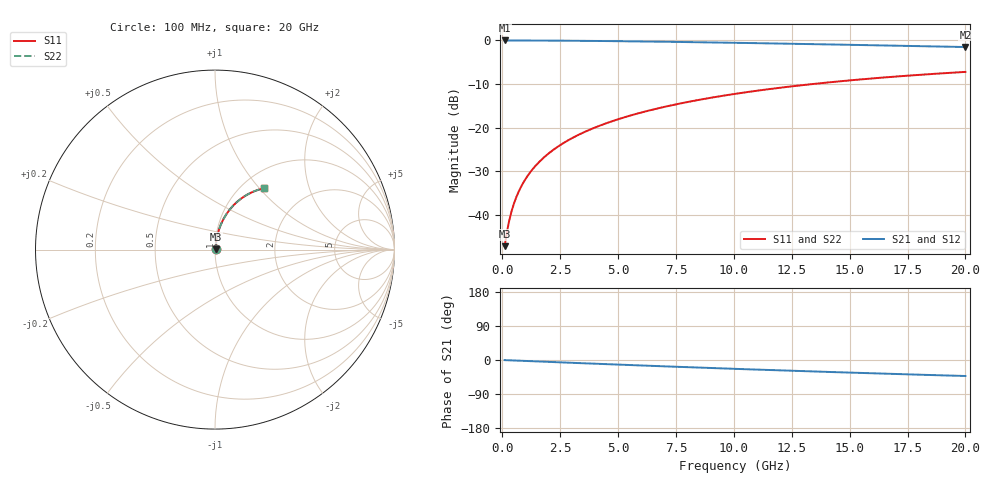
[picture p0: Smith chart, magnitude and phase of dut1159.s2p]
! Touchstone file exported from HFSS 2024.1.0
!  File:  C:/UserFiles/LocalFiles/RDL_TSV_Batchsim/temp_RDL_top_1159_1780048458.aedt
!  Generated:  05:56:28 PM May 29, 2026
!  Design:  RDL_top
!  Project:  temp_RDL_top_1159_1780048458
!  Setup:  Setup1
!  Solution:  Sweep
! Variables:
!  dtsv = 10.80580581um
!  hbump = 3um
!  htsv = 80.6um
!  ldown = 100um
!  lrdl = 594.76um
!  p = 40
!  p1 = 42.85um
!  rhole = 1um
!  t = 450um
!  tdown = 3.915915916um
!  trdl = 4.63um
!  wdown = 15.38538539um
!  wrdl = 13.09um
# GHz S MA R 50.000000
! Terminal data exported
! Port[1] = Box2_T1
! Port[2] = Box2_T2
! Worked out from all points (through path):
!   200 points, 100 MHz to 20 GHz, reference 50 ohm
!   highest |S21| = -0.03 dB at 100 MHz (marker M1); lowest = -1.5 dB at 20 GHz (marker M2)
!   group delay of S21, straight-line fit = 5.86 ps
!   lowest |S11| = -47.1 dB at 100 MHz (marker M3), VSWR 1.01, Z = 50.4 + j0.267 ohm
!   |S11| at or under -10 dB: start of sweep to 13.4 GHz
!   |S22| runs from -47.1 to -7.2 dB; largest |S21 - S12| = 9.1e-15
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0.1  0.004427 36.8  0.9965 -0.3  0.9965 -0.3  0.004427 36.8
! Gamma 0 0 0 0
! Port Impedance 50 0 50 0
0.2  0.00641 55.3  0.9964 -0.5  0.9964 -0.5  0.00641 55.3
0.3  0.008705 64.2  0.9962 -0.8  0.9962 -0.8  0.008705 64.2
0.4  0.01109 69.2  0.9961 -1.0  0.9961 -1.0  0.01109 69.2
0.5  0.01351 72.4  0.9959 -1.3  0.9959 -1.3  0.01351 72.4
0.6  0.01596 74.6  0.9958 -1.5  0.9958 -1.5  0.01596 74.6
0.8  0.02089 77.4  0.9955 -2.0  0.9955 -2.0  0.02089 77.4
1.1  0.02834 79.6  0.995 -2.8  0.995 -2.8  0.02834 79.6
1.5  0.03834 80.9  0.9941 -3.7  0.9941 -3.7  0.03834 80.9
1.8  0.04585 81.2  0.9933 -4.5  0.9933 -4.5  0.04585 81.2
2.1  0.05335 81.3  0.9924 -5.2  0.9924 -5.2  0.05335 81.3
2.7  0.06834 81.0  0.9902 -6.7  0.9902 -6.7  0.06834 81.0
3.5  0.08822 80.2  0.9865 -8.6  0.9865 -8.6  0.08822 80.2
4.2  0.1055 79.3  0.9827 -10.3  0.9827 -10.3  0.1055 79.3
5  0.1251 78.1  0.9777 -12.2  0.9777 -12.2  0.1251 78.1
5.9  0.147 76.6  0.9715 -14.3  0.9715 -14.3  0.147 76.6
6.8  0.1686 75.1  0.9648 -16.3  0.9648 -16.3  0.1686 75.1
8.3  0.204 72.4  0.9525 -19.6  0.9525 -19.6  0.204 72.4
10.1  0.2453 69.2  0.9365 -23.5  0.9365 -23.5  0.2453 69.2
13.4  0.3163 63.1  0.9047 -30.2  0.9047 -30.2  0.3163 63.1
16.7  0.3799 57.2  0.8715 -36.4  0.8715 -36.4  0.3799 57.2
20  0.4354 51.6  0.8381 -42.2  0.8381 -42.2  0.4354 51.6
